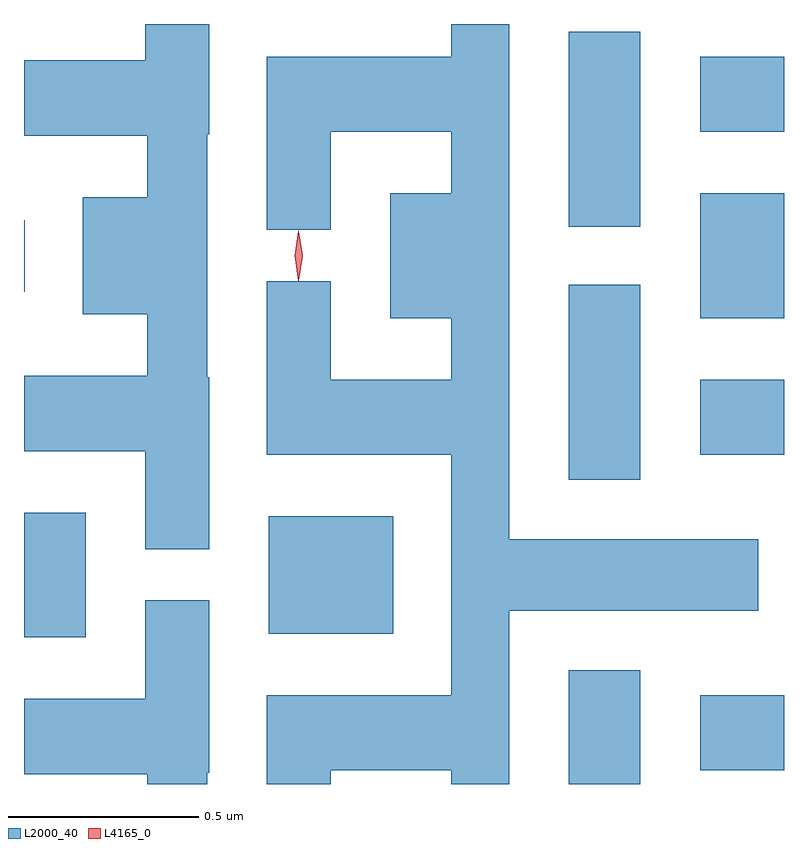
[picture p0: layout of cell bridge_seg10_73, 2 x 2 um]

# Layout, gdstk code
import gdstk
lib = gdstk.Library(unit=1e-6, precision=1e-09)
def R(c, l, rs):  # rectangles x0, y0, x1, y1
    for r in rs: c.add(gdstk.rectangle(r[:2], r[2:], *l))
def P(c, l, *ps):  # polygons
    for p in ps: c.add(gdstk.Polygon(p, *l))
L2000_40 = (2000, 40)
L4165_0 = (4165, 0)

bridge_seg10_73 = lib.new_cell('bridge_seg10_73')
R(bridge_seg10_73, L2000_40, [(1625.716,2177.86,1625.904,2178.159), (1626.061,2177.896,1626.282,2178.094), (1624.282,2178.246,1624.444,2178.574), (1624.926,2178.256,1625.254,2178.564), (1625.716,2178.661,1625.904,2179.174), (1626.061,2178.726,1626.282,2178.924), (1626.061,2179.086,1626.282,2179.414), (1624.282,2179.156,1624.284,2179.344), (1625.716,2179.326,1625.904,2179.839), (1626.061,2179.576,1626.282,2179.774)])
P(bridge_seg10_73, L2000_40, [(1625.089,2177.896),(1625.406,2177.896),(1625.406,2177.86),(1625.559,2177.86),(1625.559,2178.316),(1626.214,2178.316),(1626.214,2178.504),(1625.559,2178.504),(1625.559,2179.86),(1625.406,2179.86),(1625.406,2179.774),(1624.921,2179.774),(1624.921,2179.318),(1625.089,2179.318),(1625.089,2179.576),(1625.406,2179.576),(1625.406,2179.414),(1625.246,2179.414),(1625.246,2179.086),(1625.406,2179.086),(1625.406,2178.924),(1625.089,2178.924),(1625.089,2179.183),(1624.921,2179.183),(1624.921,2178.726),(1625.406,2178.726),(1625.406,2178.094),(1624.921,2178.094),(1624.921,2177.86),(1625.089,2177.86)],
  [(1624.769,2178.93),(1624.764,2178.93),(1624.764,2179.57),(1624.769,2179.57),(1624.769,2179.86),(1624.601,2179.86),(1624.601,2179.764),(1624.282,2179.764),(1624.282,2179.566),(1624.606,2179.566),(1624.606,2179.404),(1624.436,2179.404),(1624.436,2179.096),(1624.606,2179.096),(1624.606,2178.934),(1624.282,2178.934),(1624.282,2178.736),(1624.601,2178.736),(1624.601,2178.478),(1624.769,2178.478)],
  [(1624.764,2177.89),(1624.769,2177.89),(1624.769,2178.343),(1624.601,2178.343),(1624.601,2178.084),(1624.282,2178.084),(1624.282,2177.886),(1624.606,2177.886),(1624.606,2177.86),(1624.764,2177.86)])
P(bridge_seg10_73, L4165_0, [(1625.005,2179.184),(1625.004,2179.185),(1624.995,2179.25),(1625.004,2179.315),(1625.005,2179.316),(1625.005,2179.315),(1625.015,2179.25),(1625.005,2179.185)])

lib.write_gds('bridge_seg10_73.gds')
